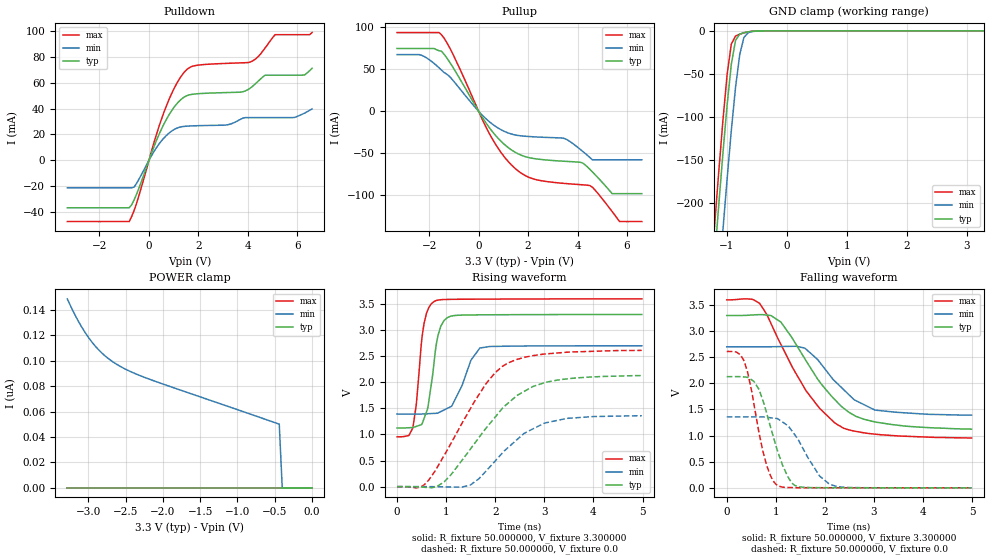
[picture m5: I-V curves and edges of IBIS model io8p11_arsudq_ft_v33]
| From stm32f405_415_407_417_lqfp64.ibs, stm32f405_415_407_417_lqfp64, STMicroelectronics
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|   Model io8p11_arsudq_ft_v33
[Model]  io8p11_arsudq_ft_v33
Model_type I/O
Polarity   Non-Inverting
Enable   Active-Low
Vinl =   0.990000V
Vinh =   2.310000V
Vmeas =  1.650000V
Cref =   30.000000pF
Rref =   100.000000M
Vref =   0.0V
C_comp   2.292100pF   2.219400pF   2.369900pF
[Temperature Range]   25.000000   0.125000k   -40.000000
[Pullup Reference]   3.300000V   2.700000V   3.600000V
[Pulldown Reference]   0.0V   0.0V   0.0V
[POWER Clamp Reference]   3.300000V   2.700000V   3.600000V
[GND Clamp Reference]   0.0V   0.0V   0.0V
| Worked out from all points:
|   slope of the pulldown table from 0 to 0.495 V, typ, clamps not added: 20.9 ohm
|   slope of the pullup table from 0 to 0.495 V, typ, clamps not added: 22.6 ohm
|   GND clamp passes 1 mA (typ) near -0.62 V on its own axis
|   rising waveform, R_fixture 50.000000, V_fixture 3.300000: 20-80 % time 192ps typ, 344ps min, 163ps max; typ from 1.12 V to 3.3 V
|   rising waveform, R_fixture 50.000000, V_fixture 0.0: 20-80 % time 1.13ns typ, 940ps min, 1ns max; typ from 0 V to 2.13 V
|   falling waveform, R_fixture 50.000000, V_fixture 3.300000: 20-80 % time 1ns typ, 800ps min, 996ps max; typ from 3.3 V to 1.12 V
|   falling waveform, R_fixture 50.000000, V_fixture 0.0: 20-80 % time 415ps typ, 530ps min, 333ps max; typ from 2.13 V to 0 V
[Pulldown]
|Voltage   I(typ)   I(min)   I(max)
-3.3V     -36.46mA   -21.09mA   -47.09mA
-800mV    -36.46mA   -21.09mA   -47.09mA
-600mV    -30.5mA    -20.54mA   -38.69mA
700mV     31.4mA     19.11mA    41.71mA
1.2V      45.15mA    25.37mA    61.75mA
1.6V      50.35mA    26.5mA     71.06mA
3.1V      52.28mA    27.26mA    74.76mA
4.1V      55.7mA     32.97mA    75.81mA
4.7V      65.71mA    32.97mA    86.64mA
5.1V      65.71mA    32.97mA    96.9mA
6.3V      65.88mA    36.51mA    96.9mA
6.6V      70.94mA    39.72mA    98.51mA
[Pullup]
|Voltage   I(typ)   I(min)   I(max)
-3.3V     74.74mA    67.41mA    93.64mA
-2.3V     74.74mA    66.57mA    93.64mA
-1.5V     71.36mA    49mA       91.06mA
-1V       50.51mA    35.49mA    65.51mA
500mV     -22.07mA   -14mA      -30.03mA
1.6V      -50.64mA   -28.81mA   -70.96mA
3.5V      -59.53mA   -32.65mA   -85.92mA
4.2V      -61.43mA   -47.47mA   -87.46mA
4.5V      -69.06mA   -55.01mA   -88.38mA
5.4V      -98mA      -57.7mA    -119.3mA
5.7V      -98mA      -57.7mA    -131.2mA
6.6V      -98mA      -57.7mA    -131.2mA
[GND_clamp]
|Voltage   I(typ)   I(min)   I(max)
-3.3V     -2.314A    -2.394A    -2.288A
-1.2V     -265.5mA   -356.1mA   -227.2mA
-1.13V    -202.6mA   -292.9mA   -164.1mA
-1.06V    -142.2mA   -231.2mA   -104.1mA
-990mV    -85.98mA   -171.6mA   -50.72mA
-920mV    -38.8mA    -115.5mA   -15.28mA
-850mV    -11.08mA   -65.6mA    -6.001mA
-780mV    -3.782mA   -27.42mA   -3.876mA
-710mV    -2.086mA   -7.69mA    -2.381mA
-640mV    -1.147mA   -2.118mA   -1.22mA
-570mV    -523.9uA   -798.4uA   -476.8uA
3.28V     0A         0A         0A
[POWER_clamp]
|Voltage   I(typ)   I(min)   I(max)
-3.28V    0A         148.5nA    0A
-3.2V     0A         138.6nA    0A
-3.12V    0A         129.7nA    0A
-3.04V    0A         122nA      0A
-2.96V    0A         115.3nA    0A
-2.8V     0A         105.1nA    0A
-2.6V     0A         96.44nA    0A
-2.4V     0A         90.52nA    0A
-2.16V    0A         84.97nA    0A
-440mV    0A         50.04nA    0A
-400mV    0A         0A         0A
0V        0A         0A         0A
[Ramp]
| variable   typ   min   max
dV/dt_r  1.26672/1.12429n   0.80970/0.93528n   1.56264/1.00109n
dV/dt_f  1.28346/0.99070n   0.77808/0.79187n   1.57283/0.99427n
R_load = 50.000000
[Rising Waveform]
R_fixture= 50.000000
V_fixture= 3.300000
V_fixture_min= 2.700000
V_fixture_max= 3.600000
|time   V(typ)   V(min)   V(max)
0s        1.124V     1.392V     954.2mV
320.3ps   1.133V     1.392V     1.122V
550.6ps   1.306V     1.394V     3.125V
630.6ps   1.527V     1.398V     3.394V
750.8ps   2.35V      1.404V     3.546V
830.8ps   2.881V     1.41V      3.575V
961ps     3.187V     1.47V      3.586V
1.121ns   3.272V     1.556V     3.59V
1.692ns   3.293V     2.658V     3.594V
4.985ns   3.3V       2.7V       3.599V
[Rising Waveform]
R_fixture= 50.000000
V_fixture= 0.0
V_fixture_min= 0.0
V_fixture_max= 0.0
|time   V(typ)   V(min)   V(max)
0s        211.3uV    82.92uV    632.2uV
550.6ps   -11.3mV    -125.6uV   33.62mV
961ps     92.15mV    -4.258mV   600.1mV
1.491ns   716.4mV    30.14mV    1.49V
1.812ns   1.118V     297.2mV    1.973V
2.232ns   1.577V     724.9mV    2.355V
2.593ns   1.827V     1.024V     2.477V
3.013ns   1.995V     1.22V      2.542V
3.473ns   2.067V     1.309V     2.578V
4.985ns   2.129V     1.359V     2.612V
[Falling Waveform]
R_fixture= 50.000000
V_fixture= 3.300000
V_fixture_min= 2.700000
V_fixture_max= 3.600000
|time   V(typ)   V(min)   V(max)
0s        3.3V       2.7V       3.599V
520.5ps   3.31V      2.7V       3.61V
670.7ps   3.316V     2.7V       3.532V
1.101ns   3.175V     2.705V     2.751V
1.592ns   2.469V     2.674V     1.897V
1.892ns   2.031V     2.407V     1.522V
2.372ns   1.531V     1.888V     1.146V
2.593ns   1.39V      1.688V     1.088V
3.023ns   1.261V     1.488V     1.027V
4.985ns   1.124V     1.392V     954.2mV
[Falling Waveform]
R_fixture= 50.000000
V_fixture= 0.0
V_fixture_min= 0.0
V_fixture_max= 0.0
|time   V(typ)   V(min)   V(max)
0s        2.129V     1.359V     2.612V
360.4ps   2.122V     1.358V     2.411V
510.5ps   2.066V     1.358V     1.841V
660.7ps   1.879V     1.357V     1.039V
810.8ps   1.438V     1.351V     437.9mV
1.041ns   690.7mV    1.321V     42.65mV
1.381ns   50.06mV    1.021V     3.996mV
1.892ns   3.193mV    225.9mV    2.275mV
2.102ns   2.302mV    65.5mV     2.032mV
4.985ns   211.3uV    82.92uV    632.2uV
